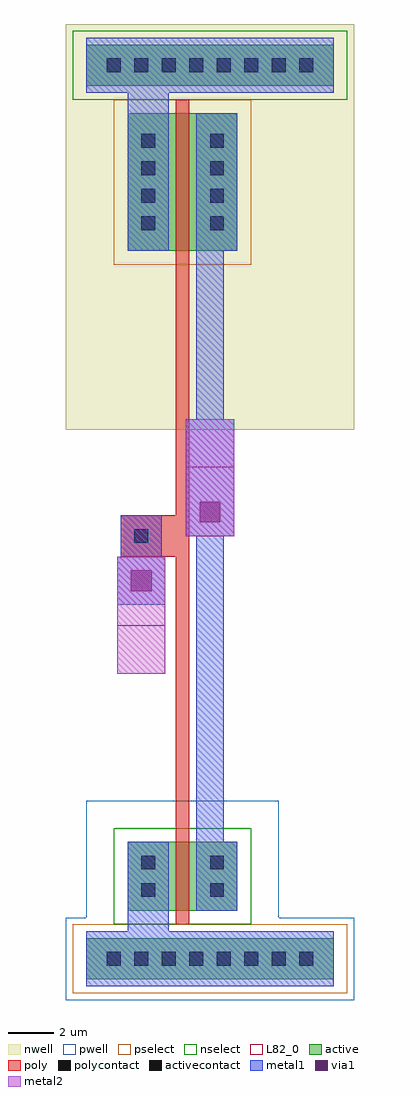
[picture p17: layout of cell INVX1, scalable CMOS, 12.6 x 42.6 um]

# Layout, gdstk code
import gdstk
lib = gdstk.Library(unit=1e-6, precision=1e-09)
def R(c, l, rs):  # rectangles x0, y0, x1, y1
    for r in rs: c.add(gdstk.rectangle(r[:2], r[2:], *l))
def A(c, l, x, y, w, h, nx, ny, dx, dy):  # array of equal rectangles
    R(c, l, [(x+i*dx, y+j*dy, x+i*dx+w, y+j*dy+h) for i in range(nx) for j in range(ny)])
pwell = (41, 0)
nwell = (42, 0)
active = (43, 0)
pselect = (44, 0)
nselect = (45, 0)
poly = (46, 0)
polycontact = (47, 0)
activecontact = (48, 0)
metal1 = (49, 0)
via1 = (50, 0)
metal2 = (51, 0)
L82_0 = (82, 0)

invx1 = lib.new_cell('INVX1')
R(invx1, pwell, [(-1.8,-1.8,10.8,1.8), (-0.9,1.8,7.5,6.9)])
R(invx1, nwell, [(-1.8,23.1,10.8,40.8)])
R(invx1, active, [(-0.9,-0.9,9.9,0.9), (0.9,2.1,5.7,5.1), (0.9,30.9,5.7,36.9), (-0.9,38.1,9.9,39.9)])
R(invx1, pselect, [(-1.5,-1.5,10.5,1.5), (0.3,30.3,6.3,37.5)])
R(invx1, nselect, [(0.3,1.5,6.3,5.7), (-1.5,37.5,10.5,40.5)])
R(invx1, poly, [(3,1.5,3.6,17.55), (0.6,17.55,3.6,19.35), (3,19.35,3.6,37.5)])
R(invx1, polycontact, [(1.2,18.15,1.8,18.75)])
A(invx1, activecontact, 0, -0.3, 0.6, 0.6, 8, 2, 1.2, 39)
A(invx1, activecontact, 1.5, 31.8, 0.6, 0.6, 1, 4, 0, 1.2)
A(invx1, activecontact, 4.5, 31.8, 0.6, 0.6, 1, 4, 0, 1.2)
R(invx1, activecontact, [(1.5,2.7,2.1,3.3), (4.5,2.7,5.1,3.3), (1.5,3.9,2.1,4.5), (4.5,3.9,5.1,4.5)])
R(invx1, metal1, [(-0.9,-1.2,9.9,1.2), (0.9,1.2,2.7,5.1), (3.9,2.1,5.7,5.1), (3.9,5.1,5.1,18.45), (0.45,15.45,2.55,17.55), (0.6,17.55,2.4,19.35), (3.45,18.45,5.55,23.55), (3.9,23.55,5.1,30.9), (0.9,30.9,2.7,37.8), (3.9,30.9,5.7,36.9), (-0.9,37.8,9.9,40.2)])
R(invx1, via1, [(1.05,16.05,1.95,16.95), (4.05,19.05,4.95,19.95)])
R(invx1, metal2, [(0.45,12.45,2.55,17.55), (3.45,18.45,5.55,23.55)])
R(invx1, L82_0, [(0.45,12.45,2.55,14.55), (3.45,21.45,5.55,23.55)])

lib.write_gds('INVX1.gds')
